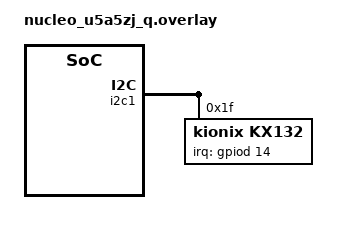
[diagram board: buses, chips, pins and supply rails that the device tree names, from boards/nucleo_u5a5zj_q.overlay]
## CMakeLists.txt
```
# Copyright (c) 2024 NXP
# SPDX-License-Identifier: Apache-2.0

cmake_minimum_required(VERSION 3.20.0)
find_package(Zephyr REQUIRED HINTS $ENV{ZEPHYR_BASE})
project(motion_detect)

FILE(GLOB app_sources src/*.c)
target_sources(app PRIVATE ${app_sources})
```

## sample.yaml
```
sample:
  name: Motion detection sample
common:
  tags: sensors
  harness: console
  harness_config:
    type: one_line
    regex:
      - "Motion detected"
tests:
  sample.sensor.motion_detect:
    filter: dt_alias_exists("accel0")
    platform_allow:
      - nucleo_u5a5zj_q
    integration_platforms:
      - nucleo_u5a5zj_q
```

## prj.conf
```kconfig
CONFIG_STDOUT_CONSOLE=y
CONFIG_POLL=y
CONFIG_SENSOR=y
CONFIG_CBPRINTF_FP_SUPPORT=y
CONFIG_SHELL=y
CONFIG_SENSOR_SHELL=y
CONFIG_I2C_SHELL=y
```

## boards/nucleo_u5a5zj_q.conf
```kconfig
CONFIG_I2C=y
CONFIG_KX132=y
CONFIG_KX132_TRIGGER=y
```

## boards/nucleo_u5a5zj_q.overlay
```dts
/*
 * Copyright (c) 2024 STMicroelectronics
 *
 * SPDX-License-Identifier: Apache-2.0
 */

/ {
	aliases {
		accel0 = &kx132;
	};
};

&i2c1 {
	kx132: kx132@1f {
		compatible = "kionix,kx132";
		reg = <0x1f>;
		irq-gpios = <&gpiod 14 GPIO_ACTIVE_HIGH>;
		sample-rate = <1>;
		range = <2>;
		wakeup-threshold = <500>;
		wakeup-debounce = <3000>;
	};
};
```

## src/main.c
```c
/*
 * Copyright (c) 2024 NXP
 * Copyright (c) 2018 Phytec Messtechnik GmbH
 *
 * SPDX-License-Identifier: Apache-2.0
 */

#include <zephyr/kernel.h>
#include <zephyr/drivers/sensor.h>
#include <stdio.h>

K_SEM_DEFINE(sem_irq,      0, 1);
K_SEM_DEFINE(sem_periodic, 0, 1);

static void print_uptime(void)
{
	int64_t ms  = k_uptime_get();
	int     hh  = (int)(ms / 3600000);
	int     mm  = (int)((ms % 3600000) / 60000);
	int     ss  = (int)((ms % 60000) / 1000);
	int     fms = (int)(ms % 1000);

	printf("%02d:%02d:%02d.%03d  ", hh, mm, ss, fms);
}

static void motion_trigger_handler(const struct device *dev,
				    const struct sensor_trigger *trigger)
{
	ARG_UNUSED(trigger);

	if (sensor_sample_fetch_chan(dev, SENSOR_CHAN_ACCEL_XYZ) < 0) {
		printf("ERROR: SENSOR_CHAN_ACCEL_XYZ fetch failed\n");
	}

	k_sem_give(&sem_irq);
}

static void periodic_expiry(struct k_timer *t)
{
	ARG_UNUSED(t);
	k_sem_give(&sem_periodic);
}

K_TIMER_DEFINE(periodic_timer, periodic_expiry, NULL);

int main(void)
{
	struct sensor_value data[3];
	struct sensor_value val_th, val_dur;
	const struct device *const dev = DEVICE_DT_GET(DT_ALIAS(accel0));

	if (!device_is_ready(dev)) {
		printf("Device %s is not ready\n", dev->name);
		return 0;
	}

	/*
	 * Arm the WUF engine.  trigger_set writes to the sensor:
	 *   - CNTL4:  C_MODE=1, TH_MODE=1, WUFE=1, PR_MODE=1
	 *   - WUFTH:  initial threshold from devicetree (overridden by attr_set below)
	 *   - WUFC:   initial debounce  from devicetree (overridden by attr_set below)
	 *   - CNTL5:  MAN_SLEEP=1 — transitions the WUF state machine to the sleep
	 *             state, making it ready to detect the next motion event
	 *
	 * ADP is disabled — raw accelerometer output feeds the WUF engine
	 * directly (no IIR filter, no RMS path).
	 */
	struct sensor_trigger trig = {
		.type = SENSOR_TRIG_MOTION,
		.chan = SENSOR_CHAN_ACCEL_XYZ,
	};

	if (sensor_trigger_set(dev, &trig, motion_trigger_handler) < 0) {
		printf("Could not set motion trigger\n");
		return 0;
	}

	/*
	 * SENSOR_ATTR_SLOPE_TH — wake-up threshold in milli-g
	 *   (1 mg = g/1000 = 9.80665e-3 m/s²)
	 *
	 * The driver converts to 11-bit WUFTH counts: counts = mg * 512 / (range_g * 1000)
	 *
	 * 500 mg → 128 counts at ±2 g — strong knock or deliberate shake
	 */
	val_th.val1 = 500; /* mg */
	val_th.val2 = 0;
	sensor_attr_set(dev, SENSOR_CHAN_ACCEL_XYZ, SENSOR_ATTR_SLOPE_TH, &val_th);

	/*
	 * SENSOR_ATTR_SLOPE_DUR — debounce window in milliseconds
	 *
	 * The WUF engine requires the threshold to be exceeded continuously
	 * for this duration before firing the interrupt.  The driver converts
	 * to WUFC counts using the active OWUF ODR (1.563 Hz → 1 count ≈ 640 ms).
	 *
	 * 5000 ms → 7 counts at 1.563 Hz ≈ 4.5 s of sustained motion required.
	 */
	val_dur.val1 = 5000; /* ms */
	val_dur.val2 = 0;
	sensor_attr_set(dev, SENSOR_CHAN_ACCEL_XYZ, SENSOR_ATTR_SLOPE_DUR, &val_dur);

	printf("Waiting for motion...\n");
	printf("  Threshold = %d mg  (raw accel delta to wake)\n", val_th.val1);
	printf("  Debounce  = %d ms (sustained motion required)\n\n", val_dur.val1);

	/* Start 12.5 Hz periodic timer (80 ms period) */
	k_timer_start(&periodic_timer, K_MSEC(80), K_MSEC(80));

	struct k_poll_event events[2] = {
		K_POLL_EVENT_STATIC_INITIALIZER(K_POLL_TYPE_SEM_AVAILABLE,
						K_POLL_MODE_NOTIFY_ONLY, &sem_irq, 0),
		K_POLL_EVENT_STATIC_INITIALIZER(K_POLL_TYPE_SEM_AVAILABLE,
						K_POLL_MODE_NOTIFY_ONLY, &sem_periodic, 0),
	};

	while (1) {
		k_poll(events, 2, K_FOREVER);

		if (events[0].state == K_POLL_STATE_SEM_AVAILABLE) {
			events[0].state = K_POLL_STATE_NOT_READY;
			k_sem_take(&sem_irq, K_NO_WAIT);
			sensor_channel_get(dev, SENSOR_CHAN_ACCEL_XYZ, data);
			printf("\x1b[1;33m");
			print_uptime();
			printf("*** MOTION  X=%8.4f  Y=%8.4f  Z=%8.4f ***\x1b[0m\n",
			       sensor_value_to_double(&data[0]),
			       sensor_value_to_double(&data[1]),
			       sensor_value_to_double(&data[2]));
		}

		if (events[1].state == K_POLL_STATE_SEM_AVAILABLE) {
			events[1].state = K_POLL_STATE_NOT_READY;
			k_sem_take(&sem_periodic, K_NO_WAIT);
			if (sensor_sample_fetch_chan(dev, SENSOR_CHAN_ACCEL_XYZ) == 0) {
				sensor_channel_get(dev, SENSOR_CHAN_ACCEL_XYZ, data);
				printf("\x1b[36m");
				print_uptime();
				printf("Sample      X=%8.4f  Y=%8.4f  Z=%8.4f\x1b[0m\n",
				       sensor_value_to_double(&data[0]),
				       sensor_value_to_double(&data[1]),
				       sensor_value_to_double(&data[2]));
			}
		}
	}
}
```
